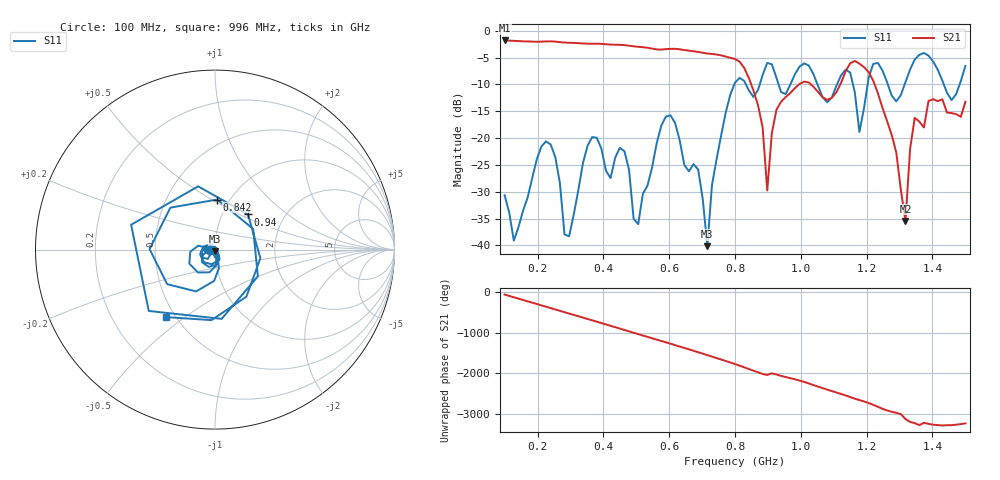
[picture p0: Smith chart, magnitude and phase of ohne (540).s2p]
! NanoVNA-App
! Date: 2025-09-25 14:25:00
! Start: 100MHz Stop: 1,5GHz Points: 101
! S-Parameter data: F S11 S21 S12 S22
# Hz S RI R 50
!  Frequency  S11_Real  S11_Imag  S21_Real  S21_Imag  S12_Real  S12_Imag  S22_Real  S22_Imag
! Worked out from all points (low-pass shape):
!   101 points, 100 MHz to 1.5 GHz, reference 50 ohm
!   highest |S21| = -1.79 dB at 100 MHz (marker M1); lowest = -35.4 dB at 1.318 GHz (marker M2)
!   |S21| within 3 dB of the highest: start of sweep to 771.8 MHz
!   lowest |S11| = -40.1 dB at 716 MHz (marker M3), VSWR 1.02, Z = 49.7 - j0.949 ohm
!   |S11| at or under -10 dB: start of sweep to 797.8 MHz; 833.3 MHz to 875.1 MHz (41.75 MHz wide, 4.89 % of centre); 1.051 GHz to 1.11 GHz (59.15 MHz wide, 5.48 % of centre) (the widest 3 of 7)
!   S12 and S22 are empty: the file has one direction only
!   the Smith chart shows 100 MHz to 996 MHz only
!   S11 on the Smith chart (normalised r, x): 100 MHz: 0.94, -0.01; 842 MHz: 0.88, +0.53; 940 MHz: 1.32, +0.56; 996 MHz: 0.45, -0.43
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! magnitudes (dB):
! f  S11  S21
! 100 MHz  -30.6  -1.8
! 128 MHz  -39.1  -1.9
! 226 MHz  -20.6  -2.0
! 296 MHz  -38.3  -2.2
! 338 MHz  -24.7  -2.4
! 464 MHz  -22.4  -2.7
! 506 MHz  -36.0  -3.0
! 576 MHz  -17.7  -3.5
! 688 MHz  -25.8  -3.9
! 716 MHz  -40.1  -4.2
! 800 MHz  -9.7  -5.3
! 842 MHz  -11.1  -8.8
! 898 MHz  -6.0  -29.8
! 940 MHz  -11.4  -13.2
! 996 MHz  -6.7  -9.9
! 1.038 GHz  -8.0  -10.4
! 1.178 GHz  -18.9  -6.1
! 1.22 GHz  -6.2  -9.3
! 1.276 GHz  -12.1  -19.4
! 1.318 GHz  -9.6  -35.4
! 1.346 GHz  -5.4  -16.2
! 1.5 GHz  -6.5  -13.2
